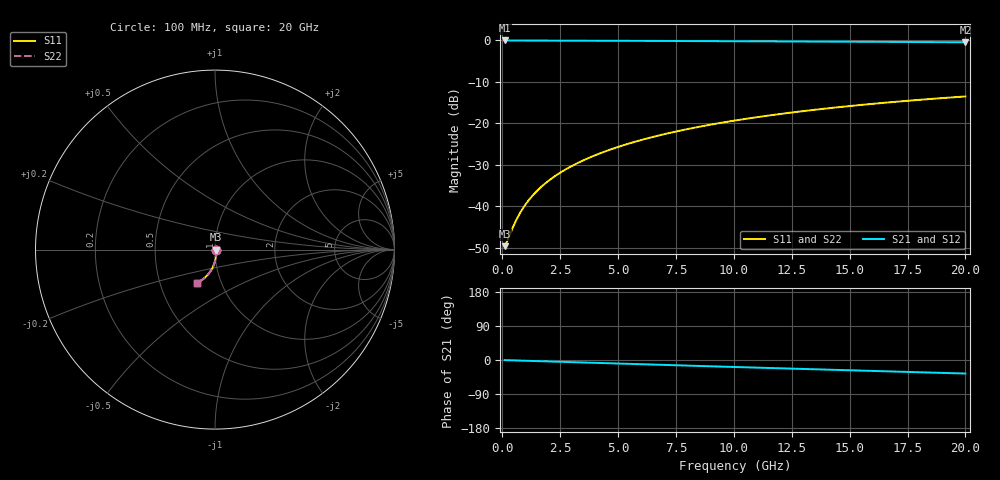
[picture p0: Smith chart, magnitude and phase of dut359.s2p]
! Touchstone file exported from HFSS 2026.1.0
!  File:  C:/ffzhzh/LocalFiles/Ansys_Project_Files/temp_train_BSMRDL_359_1783011546_55676.aedt
!  Generated:  01:00:27 AM Jul  3, 2026
!  Design:  BSMRDL
!  Project:  temp_train_BSMRDL_359_1783011546_55676
! Variables:
!  h_bsmrdl = 4.26um
!  h_ox = 20um
!  h_rdl = 5um
!  h_sub = 80um
!  h_tmrdl = 5um
!  h_tsv = 80um
!  h_via = 3um
!  l_bsmrdl = 594.21um
!  l_sub = 994.21um
!  l_tmrdl = 200um
!  m_sub = 200um
!  pitch = 17.64um
!  r_tsv = 6um
!  s_tmrdl = 10um
!  w_bsmrdl = 15.95um
!  w_sub = 500um
!  w_tmrdl = 12um
!  x_tsv_center1 = 206um
!  x_tsv_center2 = 816.16um
!  x_tsv_center3 = 1028.16um
!  x_tsv_center4 = 1638.32um
!  x_tsv_center5 = 1850.32um
!  x_tsv_center6 = 2460.48um
# GHz S MA R 50.000000
! Terminal data exported
! Port[1] = BSM_RDL1_1_T1
! Port[2] = BSM_RDL1_1_T2
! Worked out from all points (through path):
!   200 points, 100 MHz to 20 GHz, reference 50 ohm
!   highest |S21| = -0.03 dB at 100 MHz (marker M1); lowest = -0.5 dB at 20 GHz (marker M2)
!   group delay of S21, straight-line fit = 4.94 ps
!   lowest |S11| = -49.6 dB at 100 MHz (marker M3), VSWR 1.01, Z = 50.3 - j0.0319 ohm
!   |S11| at or under -10 dB: start of sweep to end of sweep
!   |S22| runs from -49.6 to -13.5 dB; largest |S21 - S12| = 3.2e-15
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0.1  0.003328 -5.5  0.9967 -0.2  0.9967 -0.2  0.003328 -5.5
! Gamma 0 0 0 0
! Port Impedance 50 0 50 0
0.2  0.003772 -12.2  0.9963 -0.5  0.9963 -0.5  0.003772 -12.2
0.5  0.005975 -34.3  0.995 -1.0  0.995 -1.0  0.005976 -34.3
0.7  0.00774 -45.3  0.9944 -1.4  0.9944 -1.4  0.007741 -45.3
0.8  0.00866 -49.7  0.9942 -1.6  0.9942 -1.6  0.008662 -49.7
1  0.01055 -56.5  0.9938 -2.0  0.9938 -2.0  0.01055 -56.5
1.2  0.01248 -61.6  0.9936 -2.4  0.9936 -2.4  0.01248 -61.6
1.4  0.01443 -65.5  0.9933 -2.7  0.9933 -2.7  0.01444 -65.5
1.8  0.01841 -71.0  0.9928 -3.5  0.9928 -3.5  0.01841 -71.0
2.3  0.02347 -75.6  0.9922 -4.4  0.9922 -4.4  0.02347 -75.6
2.9  0.02965 -79.3  0.9913 -5.5  0.9913 -5.5  0.02966 -79.3
3.5  0.03594 -82.1  0.9903 -6.6  0.9903 -6.6  0.03595 -82.0
4.2  0.04341 -84.6  0.989 -7.9  0.989 -7.9  0.04343 -84.6
5  0.0521 -87.0  0.9874 -9.4  0.9874 -9.4  0.05211 -87.0
5.9  0.06201 -89.5  0.9855 -11.1  0.9855 -11.1  0.06203 -89.4
6.8  0.07203 -91.7  0.9835 -12.7  0.9835 -12.7  0.07206 -91.6
8.4  0.08995 -95.4  0.9798 -15.6  0.9798 -15.6  0.08999 -95.3
10.1  0.1089 -99.1  0.9757 -18.6  0.9757 -18.6  0.109 -99.1
11.7  0.1266 -102.5  0.9716 -21.4  0.9716 -21.4  0.1266 -102.4
13.4  0.145 -106.0  0.9671 -24.4  0.9671 -24.4  0.145 -105.9
16.7  0.1792 -112.4  0.9579 -30.1  0.9579 -30.1  0.1793 -112.3
20  0.2112 -118.6  0.948 -35.7  0.948 -35.7  0.2114 -118.4
